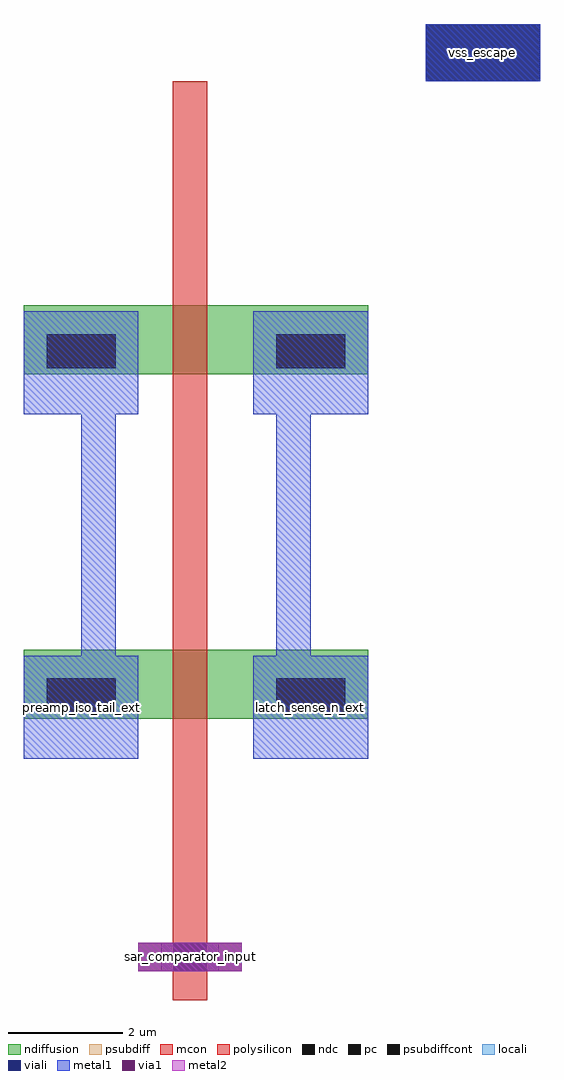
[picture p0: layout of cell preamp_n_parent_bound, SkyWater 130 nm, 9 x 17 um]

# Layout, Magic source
magic
tech sky130A
<< ndiffusion >>
rect 300 1290 900 1410
rect 300 690 900 810
<< polysilicon >>
rect 560 200 620 1800
<< ndc >>
rect 340 1300 460 1360
rect 740 1300 860 1360
rect 340 700 460 760
rect 740 700 860 760
<< mcon >>
rect 340 1300 460 1360
rect 740 1300 860 1360
rect 560 250 620 300
rect 340 700 460 760
rect 740 700 860 760
<< metal1 >>
rect 300 1220 500 1400
rect 700 1220 900 1400
rect 400 740 460 1320
rect 740 740 800 1320
rect 540 250 640 300
rect 300 620 500 800
rect 700 620 900 800
rect 1000 1800 1200 1900
<< metal2 >>
rect 500 250 680 300
<< via1 >>
rect 500 250 680 300
<< pc >>
rect 560 250 620 300
<< locali >>
rect 560 250 620 300
<< psubdiff >>
rect 1000 1800 1200 1900
<< psubdiffcont >>
rect 1000 1800 1200 1900
<< viali >>
rect 1000 1800 1200 1900
<< labels >>
rlabel metal1 300 620 500 800 0 preamp_iso_tail_ext
port 1 nsew
rlabel metal1 700 620 900 800 0 latch_sense_n_ext
port 2 nsew
rlabel metal2 500 250 680 300 0 sar_comparator_input
port 3 nsew
rlabel metal1 1000 1800 1200 1900 0 vss_escape
port 4 nsew
<< end >>
